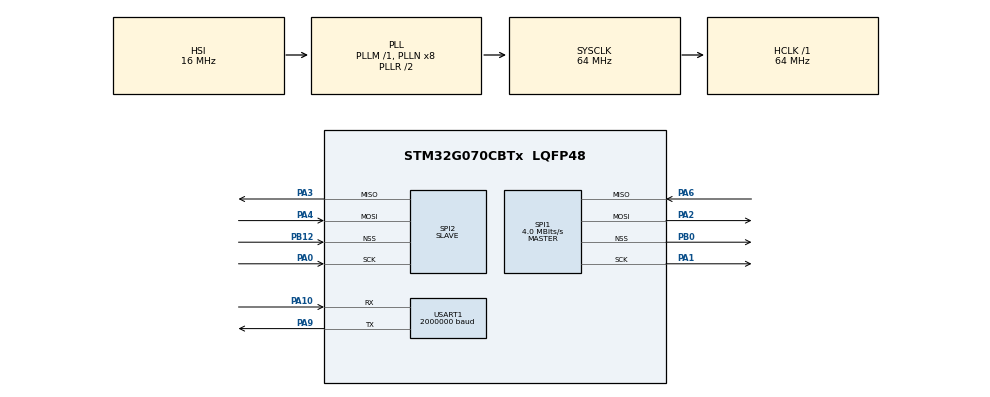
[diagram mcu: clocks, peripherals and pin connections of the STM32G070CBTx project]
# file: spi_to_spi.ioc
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Dma.Request0=SPI1_RX
Dma.Request1=SPI2_RX
Dma.Request2=SPI1_TX
Dma.Request3=SPI2_TX
Dma.SPI1_RX.0.Direction=DMA_PERIPH_TO_MEMORY
Dma.SPI1_RX.0.EventEnable=DISABLE
Dma.SPI1_RX.0.Instance=DMA1_Channel1
Dma.SPI1_RX.0.MemDataAlignment=DMA_MDATAALIGN_HALFWORD
Dma.SPI1_RX.0.MemInc=DMA_MINC_ENABLE
Dma.SPI1_RX.0.Mode=DMA_NORMAL
Dma.SPI1_RX.0.PeriphDataAlignment=DMA_PDATAALIGN_HALFWORD
Dma.SPI1_RX.0.PeriphInc=DMA_PINC_DISABLE
Dma.SPI1_RX.0.Polarity=HAL_DMAMUX_REQ_GEN_RISING
Dma.SPI1_RX.0.Priority=DMA_PRIORITY_VERY_HIGH
Dma.SPI1_RX.0.RequestNumber=1
Dma.SPI1_RX.0.SignalID=NONE
Dma.SPI1_RX.0.SyncEnable=DISABLE
Dma.SPI1_RX.0.SyncPolarity=HAL_DMAMUX_SYNC_NO_EVENT
Dma.SPI1_RX.0.SyncRequestNumber=1
Dma.SPI1_RX.0.SyncSignalID=NONE
Dma.SPI1_TX.2.Direction=DMA_MEMORY_TO_PERIPH
Dma.SPI1_TX.2.EventEnable=DISABLE
Dma.SPI1_TX.2.Instance=DMA1_Channel3
Dma.SPI1_TX.2.MemDataAlignment=DMA_MDATAALIGN_HALFWORD
Dma.SPI1_TX.2.MemInc=DMA_MINC_ENABLE
Dma.SPI1_TX.2.Mode=DMA_NORMAL
Dma.SPI1_TX.2.PeriphDataAlignment=DMA_PDATAALIGN_HALFWORD
Dma.SPI1_TX.2.PeriphInc=DMA_PINC_DISABLE
Dma.SPI1_TX.2.Polarity=HAL_DMAMUX_REQ_GEN_RISING
Dma.SPI1_TX.2.Priority=DMA_PRIORITY_HIGH
Dma.SPI1_TX.2.RequestNumber=1
Dma.SPI1_TX.2.SignalID=NONE
Dma.SPI1_TX.2.SyncEnable=DISABLE
Dma.SPI1_TX.2.SyncPolarity=HAL_DMAMUX_SYNC_NO_EVENT
Dma.SPI1_TX.2.SyncRequestNumber=1
Dma.SPI1_TX.2.SyncSignalID=NONE
Dma.SPI2_RX.1.Direction=DMA_PERIPH_TO_MEMORY
Dma.SPI2_RX.1.EventEnable=DISABLE
Dma.SPI2_RX.1.Instance=DMA1_Channel2
Dma.SPI2_RX.1.MemDataAlignment=DMA_MDATAALIGN_HALFWORD
Dma.SPI2_RX.1.MemInc=DMA_MINC_ENABLE
Dma.SPI2_RX.1.Mode=DMA_NORMAL
Dma.SPI2_RX.1.PeriphDataAlignment=DMA_PDATAALIGN_HALFWORD
Dma.SPI2_RX.1.PeriphInc=DMA_PINC_DISABLE
Dma.SPI2_RX.1.Polarity=HAL_DMAMUX_REQ_GEN_RISING
Dma.SPI2_RX.1.Priority=DMA_PRIORITY_VERY_HIGH
Dma.SPI2_RX.1.RequestNumber=1
Dma.SPI2_RX.1.SignalID=NONE
Dma.SPI2_RX.1.SyncEnable=DISABLE
Dma.SPI2_RX.1.SyncPolarity=HAL_DMAMUX_SYNC_NO_EVENT
Dma.SPI2_RX.1.SyncRequestNumber=1
Dma.SPI2_RX.1.SyncSignalID=NONE
Dma.SPI2_TX.3.Direction=DMA_MEMORY_TO_PERIPH
Dma.SPI2_TX.3.EventEnable=DISABLE
Dma.SPI2_TX.3.Instance=DMA1_Channel4
Dma.SPI2_TX.3.MemDataAlignment=DMA_MDATAALIGN_HALFWORD
Dma.SPI2_TX.3.MemInc=DMA_MINC_ENABLE
Dma.SPI2_TX.3.Mode=DMA_NORMAL
Dma.SPI2_TX.3.PeriphDataAlignment=DMA_PDATAALIGN_HALFWORD
Dma.SPI2_TX.3.PeriphInc=DMA_PINC_DISABLE
Dma.SPI2_TX.3.Polarity=HAL_DMAMUX_REQ_GEN_RISING
Dma.SPI2_TX.3.Priority=DMA_PRIORITY_HIGH
Dma.SPI2_TX.3.RequestNumber=1
Dma.SPI2_TX.3.SignalID=NONE
Dma.SPI2_TX.3.SyncEnable=DISABLE
Dma.SPI2_TX.3.SyncPolarity=HAL_DMAMUX_SYNC_NO_EVENT
Dma.SPI2_TX.3.SyncRequestNumber=1
Dma.SPI2_TX.3.SyncSignalID=NONE
Mcu.Family=STM32G0
Mcu.Name=STM32G070CBTx
Mcu.Package=LQFP48
NVIC.DMA1_Ch4_7_DMAMUX1_OVR_IRQn=true\:0\:0\:false\:false\:true\:false\:true\:true
NVIC.DMA1_Channel1_IRQn=true\:0\:0\:false\:false\:true\:false\:true\:true
NVIC.DMA1_Channel2_3_IRQn=true\:0\:0\:false\:false\:true\:false\:true\:true
NVIC.SPI1_IRQn=true\:0\:0\:false\:false\:true\:true\:true\:true
NVIC.SPI2_IRQn=true\:0\:0\:false\:false\:true\:true\:true\:true
NVIC.USART1_IRQn=true\:0\:0\:false\:false\:true\:true\:true\:true
PA0.Mode=Full_Duplex_Slave
PA0.Signal=SPI2_SCK
PA1.Mode=Full_Duplex_Master
PA1.Signal=SPI1_SCK
PA10.Mode=Asynchronous
PA10.Signal=USART1_RX
PA13.Mode=Serial_Wire
PA13.Signal=SYS_SWDIO
PA14-BOOT0.Mode=Serial_Wire
PA14-BOOT0.Signal=SYS_SWCLK
PA2.Mode=Full_Duplex_Master
PA2.Signal=SPI1_MOSI
PA3.Mode=Full_Duplex_Slave
PA3.Signal=SPI2_MISO
PA4.Mode=Full_Duplex_Slave
PA4.Signal=SPI2_MOSI
PA6.Mode=Full_Duplex_Master
PA6.Signal=SPI1_MISO
PA9.Mode=Asynchronous
PA9.Signal=USART1_TX
PB0.Mode=NSS_Signal_Hard_Output
PB0.Signal=SPI1_NSS
PB12.Mode=NSS_Signal_Hard_Input
PB12.Signal=SPI2_NSS
PF0-OSC_IN\ (PF0).Mode=HSE-External-Oscillator
PF0-OSC_IN\ (PF0).Signal=RCC_OSC_IN
PF1-OSC_OUT\ (PF1).Mode=HSE-External-Oscillator
PF1-OSC_OUT\ (PF1).Signal=RCC_OSC_OUT
ProjectManager.HeapSize=0x200
ProjectManager.StackSize=0x400
ProjectManager.TargetToolchain=STM32CubeIDE
RCC.ADCFreq_Value=64000000
RCC.AHBFreq_Value=64000000
RCC.CortexFreq_Value=64000000
RCC.EXTERNAL_CLOCK_VALUE=48000
RCC.HCLKFreq_Value=64000000
RCC.HSE_VALUE=16000000
RCC.HSI_VALUE=16000000
RCC.LSE_VALUE=32768
RCC.SYSCLKFreq_VALUE=64000000
RCC.SYSCLKSource=RCC_SYSCLKSOURCE_PLLCLK
RCC.VCOOutputFreq_Value=128000000
SPI1.BaudRatePrescaler=SPI_BAUDRATEPRESCALER_16
SPI1.CalculateBaudRate=4.0 MBits/s
SPI1.DataSize=SPI_DATASIZE_16BIT
SPI1.Direction=SPI_DIRECTION_2LINES
SPI1.Mode=SPI_MODE_MASTER
SPI1.NSSPMode=SPI_NSS_PULSE_DISABLE
SPI1.VirtualNSS=VM_NSSHARD
SPI1.VirtualType=VM_MASTER
SPI2.DataSize=SPI_DATASIZE_16BIT
SPI2.Direction=SPI_DIRECTION_2LINES
SPI2.Mode=SPI_MODE_SLAVE
SPI2.VirtualNSS=VM_NSSHARD
SPI2.VirtualType=VM_SLAVE
USART1.BaudRate=2000000
USART1.FIFOMode=FIFOMODE_ENABLE
USART1.TXFIFOThreshold=TXFIFO_THRESHOLD_1QUARTERFULL
USART1.VirtualMode-Asynchronous=VM_ASYNC
board=custom

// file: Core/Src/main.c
/* USER CODE BEGIN Header */
/**
  ******************************************************************************
  * @file           : main.c
  * @brief          : Main program body
  ******************************************************************************
  * @attention
  *
  * Copyright (c) 2022 STMicroelectronics.
  * All rights reserved.
  *
  * This software is licensed under terms that can be found in the LICENSE file
  * in the root directory of this software component.
  * If no LICENSE file comes with this software, it is provided AS-IS.
  *
  ******************************************************************************
  */
/* USER CODE END Header */
#include "main.h"

/* USER CODE BEGIN PD */
#define SPI1LEN         1024	        /* длина буфера для spi1 */
#define SPI2LEN         SPI1LEN * 2		/* длина буфера для spi2 */
/* USER CODE END PD */

SPI_HandleTypeDef hspi1;
SPI_HandleTypeDef hspi2;
DMA_HandleTypeDef hdma_spi1_rx;
DMA_HandleTypeDef hdma_spi1_tx;
DMA_HandleTypeDef hdma_spi2_rx;
DMA_HandleTypeDef hdma_spi2_tx;

UART_HandleTypeDef huart1;

/* USER CODE BEGIN PV */
uint16_t        spi1buf[SPI1LEN]; 	// master mode
uint16_t        spi2buf[SPI2LEN]; 	// slave mode
uint16_t        spi2index = 0;		// индекс массива
/* USER CODE END PV */

void SystemClock_Config(void);
static void MX_GPIO_Init(void);
static void MX_DMA_Init(void);
static void MX_SPI1_Init(void);
static void MX_SPI2_Init(void);
static void MX_USART1_UART_Init(void);

/* USER CODE BEGIN 0 */
void HAL_UART_RxCpltCallback(UART_HandleTypeDef *huart)
{
	// интересный вариант приема данных сразу в целевой массив
    HAL_UART_Receive_IT(&huart1, (uint8_t *)&spi2buf[spi2index++], 2); // получаем 2 восьмибитных слова по прерыванию от UART
    if(spi2index >= SPI2LEN) // не допускаем выхода за пределы массива
    	spi2index = 0;
    if(spi2index == SPI2LEN / 2) // при заполнении буффера на половину отдаем данные по DMA
        HAL_SPI_Transmit_DMA(&hspi2, (uint8_t *)&spi2buf[0], SPI2LEN / 2); // slave transmit use NSS signal +
    if(spi2index == SPI2LEN) // при заполнении буффера полностью отдаем данные по DMA начиная с середины и до конца массива
        HAL_SPI_Transmit_DMA(&hspi2, (uint8_t *)&spi2buf[SPI2LEN / 2], SPI2LEN / 2); // slave transmit use NSS signal +
}
/* USER CODE END 0 */

int main(void)
{

  /* MCU Configuration--------------------------------------------------------*/

  /* Reset of all peripherals, Initializes the Flash interface and the Systick. */
  HAL_Init();

  /* Configure the system clock */
  SystemClock_Config();

  /* Initialize all configured peripherals */
  MX_GPIO_Init();
  MX_DMA_Init();
  MX_SPI1_Init();
  MX_SPI2_Init();
  MX_USART1_UART_Init();
  /* USER CODE BEGIN 2 */

  // генерируем набор данных для удобства отслеживания изменений в режиме отладки
  for(uint16_t i = 0; i < SPI2LEN; i++)
          spi2buf[i] = SPI2LEN - i - 1;

  // передача данных по SPI слейвом используя NSS
  HAL_SPI_Transmit_DMA(&hspi2, (uint8_t *)&spi2buf, SPI2LEN / 2);

  // прием данных мастером используя NSS
  HAL_SPI_Receive(&hspi1, (uint8_t *)&spi1buf, SPI1LEN, 5000);

  // получаем 2 восьмибитных слова по одному прерыванию UART
  HAL_UART_Receive_IT(&huart1, (uint8_t *)&spi2buf, 2);

  /* USER CODE END 2 */

  /* Infinite loop */
  while (1)
  {

  }
}

void SystemClock_Config(void)
{
  RCC_OscInitTypeDef RCC_OscInitStruct = {0};
  RCC_ClkInitTypeDef RCC_ClkInitStruct = {0};

  /** Configure the main internal regulator output voltage
  */
  HAL_PWREx_ControlVoltageScaling(PWR_REGULATOR_VOLTAGE_SCALE1);

  /** Initializes the RCC Oscillators according to the specified parameters
  * in the RCC_OscInitTypeDef structure.
  */
  RCC_OscInitStruct.OscillatorType = RCC_OSCILLATORTYPE_HSI;
  RCC_OscInitStruct.HSIState = RCC_HSI_ON;
  RCC_OscInitStruct.HSIDiv = RCC_HSI_DIV1;
  RCC_OscInitStruct.HSICalibrationValue = RCC_HSICALIBRATION_DEFAULT;
  RCC_OscInitStruct.PLL.PLLState = RCC_PLL_ON;
  RCC_OscInitStruct.PLL.PLLSource = RCC_PLLSOURCE_HSI;
  RCC_OscInitStruct.PLL.PLLM = RCC_PLLM_DIV1;
  RCC_OscInitStruct.PLL.PLLN = 8;
  RCC_OscInitStruct.PLL.PLLP = RCC_PLLP_DIV2;
  RCC_OscInitStruct.PLL.PLLR = RCC_PLLR_DIV2;
  if (HAL_RCC_OscConfig(&RCC_OscInitStruct) != HAL_OK)
  {
    Error_Handler();
  }

  /** Initializes the CPU, AHB and APB buses clocks
  */
  RCC_ClkInitStruct.ClockType = RCC_CLOCKTYPE_HCLK|RCC_CLOCKTYPE_SYSCLK
                              |RCC_CLOCKTYPE_PCLK1;
  RCC_ClkInitStruct.SYSCLKSource = RCC_SYSCLKSOURCE_PLLCLK;
  RCC_ClkInitStruct.AHBCLKDivider = RCC_SYSCLK_DIV1;
  RCC_ClkInitStruct.APB1CLKDivider = RCC_HCLK_DIV1;

  if (HAL_RCC_ClockConfig(&RCC_ClkInitStruct, FLASH_LATENCY_2) != HAL_OK)
  {
    Error_Handler();
  }
}

static void MX_SPI1_Init(void)
{

  /* SPI1 parameter configuration*/
  hspi1.Instance = SPI1;
  hspi1.Init.Mode = SPI_MODE_MASTER;
  hspi1.Init.Direction = SPI_DIRECTION_2LINES;
  hspi1.Init.DataSize = SPI_DATASIZE_16BIT;
  hspi1.Init.CLKPolarity = SPI_POLARITY_LOW;
  hspi1.Init.CLKPhase = SPI_PHASE_1EDGE;
  hspi1.Init.NSS = SPI_NSS_HARD_OUTPUT;
  hspi1.Init.BaudRatePrescaler = SPI_BAUDRATEPRESCALER_16;
  hspi1.Init.FirstBit = SPI_FIRSTBIT_MSB;
  hspi1.Init.TIMode = SPI_TIMODE_DISABLE;
  hspi1.Init.CRCCalculation = SPI_CRCCALCULATION_DISABLE;
  hspi1.Init.CRCPolynomial = 7;
  hspi1.Init.CRCLength = SPI_CRC_LENGTH_DATASIZE;
  hspi1.Init.NSSPMode = SPI_NSS_PULSE_DISABLE;
  if (HAL_SPI_Init(&hspi1) != HAL_OK)
  {
    Error_Handler();
  }

}

static void MX_SPI2_Init(void)
{

  /* SPI2 parameter configuration*/
  hspi2.Instance = SPI2;
  hspi2.Init.Mode = SPI_MODE_SLAVE;
  hspi2.Init.Direction = SPI_DIRECTION_2LINES;
  hspi2.Init.DataSize = SPI_DATASIZE_16BIT;
  hspi2.Init.CLKPolarity = SPI_POLARITY_LOW;
  hspi2.Init.CLKPhase = SPI_PHASE_1EDGE;
  hspi2.Init.NSS = SPI_NSS_HARD_INPUT;
  hspi2.Init.FirstBit = SPI_FIRSTBIT_MSB;
  hspi2.Init.TIMode = SPI_TIMODE_DISABLE;
  hspi2.Init.CRCCalculation = SPI_CRCCALCULATION_DISABLE;
  hspi2.Init.CRCPolynomial = 7;
  hspi2.Init.CRCLength = SPI_CRC_LENGTH_DATASIZE;
  hspi2.Init.NSSPMode = SPI_NSS_PULSE_DISABLE;
  if (HAL_SPI_Init(&hspi2) != HAL_OK)
  {
    Error_Handler();
  }

}

static void MX_USART1_UART_Init(void)
{

  huart1.Instance = USART1;
  huart1.Init.BaudRate = 2000000;
  huart1.Init.WordLength = UART_WORDLENGTH_8B;
  huart1.Init.StopBits = UART_STOPBITS_1;
  huart1.Init.Parity = UART_PARITY_NONE;
  huart1.Init.Mode = UART_MODE_TX_RX;
  huart1.Init.HwFlowCtl = UART_HWCONTROL_NONE;
  huart1.Init.OverSampling = UART_OVERSAMPLING_16;
  huart1.Init.OneBitSampling = UART_ONE_BIT_SAMPLE_DISABLE;
  huart1.Init.ClockPrescaler = UART_PRESCALER_DIV1;
  huart1.AdvancedInit.AdvFeatureInit = UART_ADVFEATURE_NO_INIT;
  if (HAL_UART_Init(&huart1) != HAL_OK)
  {
    Error_Handler();
  }
  if (HAL_UARTEx_SetTxFifoThreshold(&huart1, UART_TXFIFO_THRESHOLD_1_4) != HAL_OK)
  {
    Error_Handler();
  }
  if (HAL_UARTEx_SetRxFifoThreshold(&huart1, UART_RXFIFO_THRESHOLD_1_8) != HAL_OK)
  {
    Error_Handler();
  }
  if (HAL_UARTEx_EnableFifoMode(&huart1) != HAL_OK)
  {
    Error_Handler();
  }

}

static void MX_DMA_Init(void)
{

  /* DMA controller clock enable */
  __HAL_RCC_DMA1_CLK_ENABLE();

  /* DMA interrupt init */
  /* DMA1_Channel1_IRQn interrupt configuration */
  HAL_NVIC_SetPriority(DMA1_Channel1_IRQn, 0, 0);
  HAL_NVIC_EnableIRQ(DMA1_Channel1_IRQn);
  /* DMA1_Channel2_3_IRQn interrupt configuration */
  HAL_NVIC_SetPriority(DMA1_Channel2_3_IRQn, 0, 0);
  HAL_NVIC_EnableIRQ(DMA1_Channel2_3_IRQn);
  /* DMA1_Ch4_7_DMAMUX1_OVR_IRQn interrupt configuration */
  HAL_NVIC_SetPriority(DMA1_Ch4_7_DMAMUX1_OVR_IRQn, 0, 0);
  HAL_NVIC_EnableIRQ(DMA1_Ch4_7_DMAMUX1_OVR_IRQn);

}

static void MX_GPIO_Init(void)
{

  /* GPIO Ports Clock Enable */
  __HAL_RCC_GPIOF_CLK_ENABLE();
  __HAL_RCC_GPIOA_CLK_ENABLE();
  __HAL_RCC_GPIOB_CLK_ENABLE();

}

void Error_Handler(void)
{
  __disable_irq();
  while (1)
  {
  }
}
